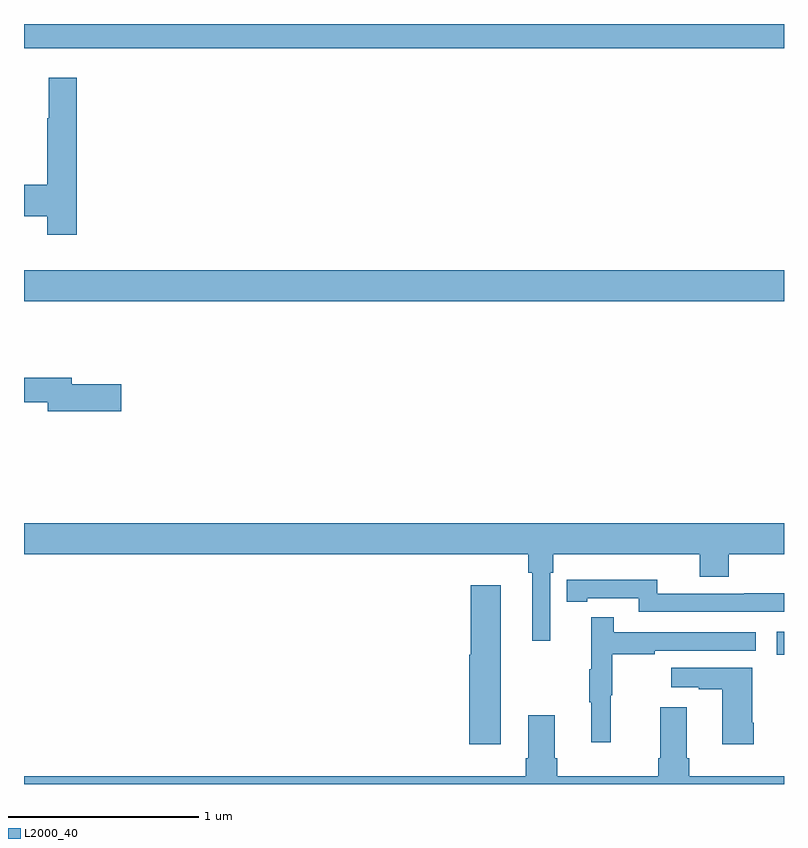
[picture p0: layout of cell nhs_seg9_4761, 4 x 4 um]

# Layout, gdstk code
import gdstk
lib = gdstk.Library(unit=1e-6, precision=1e-09)
def R(c, l, rs):  # rectangles x0, y0, x1, y1
    for r in rs: c.add(gdstk.rectangle(r[:2], r[2:], *l))
def P(c, l, *ps):  # polygons
    for p in ps: c.add(gdstk.Polygon(p, *l))
L2000_40 = (2000, 40)

nhs_seg9_4761 = lib.new_cell('nhs_seg9_4761')
R(nhs_seg9_4761, L2000_40, [(388.962,1241.181,389,1241.302), (385,1243.04,389,1243.204), (385,1244.372,389,1244.5)])
P(nhs_seg9_4761, L2000_40, [(385.277,1244.218),(385.13,1244.218),(385.13,1244.005),(385.123,1244.005),(385.123,1243.653),(385,1243.653),(385,1243.487),(385.123,1243.487),(385.123,1243.392),(385.277,1243.392)],
  [(385.513,1242.603),(385.252,1242.603),(385.252,1242.637),(385,1242.637),(385,1242.508),(385.124,1242.508),(385.124,1242.461),(385.513,1242.461)],
  [(387.771,1241.612),(387.785,1241.612),(387.785,1241.708),(388.556,1241.708),(388.556,1241.591),(388.709,1241.591),(388.709,1241.708),(389,1241.708),(389,1241.872),(385,1241.872),(385,1241.708),(387.655,1241.708),(387.655,1241.612),(387.674,1241.612),(387.674,1241.253),(387.771,1241.253)],
  [(389,1241.504),(388.792,1241.504),(388.792,1241.502),(388.332,1241.502),(388.332,1241.575),(387.964,1241.575),(387.964,1241.574),(387.856,1241.574),(387.856,1241.458),(387.964,1241.458),(387.964,1241.478),(388.236,1241.478),(388.236,1241.406),(389,1241.406)],
  [(387.508,1241.545),(387.35,1241.545),(387.35,1241.181),(387.344,1241.181),(387.344,1240.71),(387.508,1240.71)],
  [(388.088,1240.968),(388.096,1240.968),(388.096,1241.182),(388.319,1241.182),(388.319,1241.202),(388.852,1241.202),(388.852,1241.298),(388.103,1241.298),(388.103,1241.377),(387.986,1241.377),(387.986,1241.105),(387.975,1241.105),(387.975,1240.931),(387.986,1240.931),(387.986,1240.719),(388.088,1240.719)],
  [(388.842,1240.822),(388.834,1240.822),(388.834,1241.113),(388.407,1241.113),(388.407,1241.009),(388.55,1241.009),(388.55,1240.999),(388.676,1240.999),(388.676,1240.71),(388.842,1240.71)],
  [(389,1240.54),(388.502,1240.54),(388.502,1240.636),(388.489,1240.636),(388.489,1240.903),(388.349,1240.903),(388.349,1240.636),(388.337,1240.636),(388.337,1240.54),(387.806,1240.54),(387.806,1240.636),(387.793,1240.636),(387.793,1240.861),(387.653,1240.861),(387.653,1240.636),(387.641,1240.636),(387.641,1240.54),(385,1240.54),(385,1240.5),(389,1240.5)])

lib.write_gds('nhs_seg9_4761.gds')
